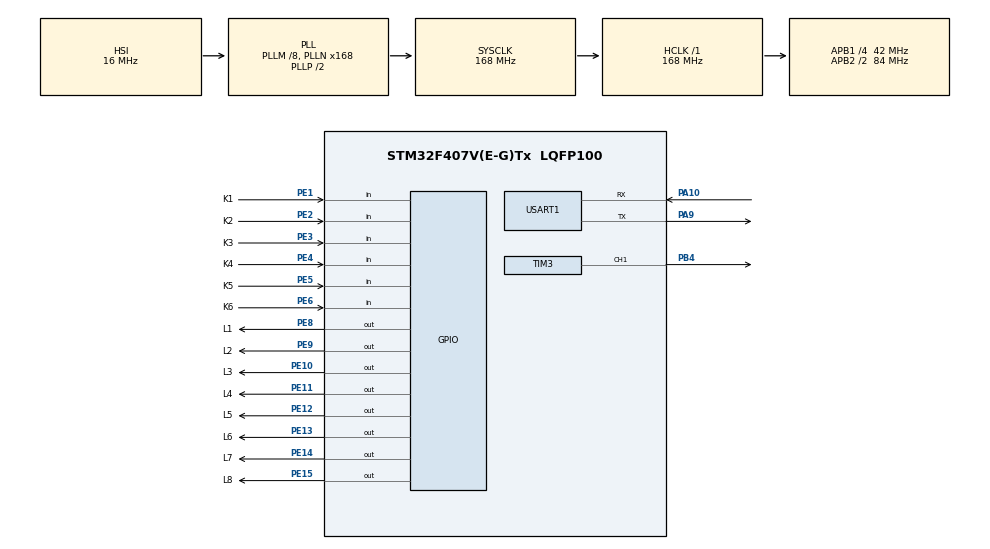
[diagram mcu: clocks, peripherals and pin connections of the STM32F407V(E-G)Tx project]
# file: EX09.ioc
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Mcu.Family=STM32F4
Mcu.Name=STM32F407V(E-G)Tx
Mcu.Package=LQFP100
NVIC.PriorityGroup=NVIC_PRIORITYGROUP_4
NVIC.USART1_IRQn=true\:0\:0\:false\:false\:true\:true\:true
PA10.Mode=Asynchronous
PA10.Signal=USART1_RX
PA13.Mode=Serial_Wire
PA13.Signal=SYS_JTMS-SWDIO
PA14.Mode=Serial_Wire
PA14.Signal=SYS_JTCK-SWCLK
PA9.Mode=Asynchronous
PA9.Signal=USART1_TX
PB4.Signal=S_TIM3_CH1
PE1.GPIO_Label=K1
PE1.GPIO_PuPd=GPIO_PULLUP
PE1.Signal=GPIO_Input
PE10.GPIO_Label=L3
PE10.GPIO_ModeDefaultOutputPP=GPIO_MODE_OUTPUT_PP
PE10.GPIO_PuPd=GPIO_NOPULL
PE10.GPIO_Speed=GPIO_SPEED_FREQ_LOW
PE10.PinState=GPIO_PIN_SET
PE10.Signal=GPIO_Output
PE11.GPIO_Label=L4
PE11.GPIO_ModeDefaultOutputPP=GPIO_MODE_OUTPUT_PP
PE11.GPIO_PuPd=GPIO_NOPULL
PE11.GPIO_Speed=GPIO_SPEED_FREQ_LOW
PE11.PinState=GPIO_PIN_SET
PE11.Signal=GPIO_Output
PE12.GPIO_Label=L5
PE12.GPIO_ModeDefaultOutputPP=GPIO_MODE_OUTPUT_PP
PE12.GPIO_PuPd=GPIO_NOPULL
PE12.GPIO_Speed=GPIO_SPEED_FREQ_LOW
PE12.PinState=GPIO_PIN_SET
PE12.Signal=GPIO_Output
PE13.GPIO_Label=L6
PE13.GPIO_ModeDefaultOutputPP=GPIO_MODE_OUTPUT_PP
PE13.GPIO_PuPd=GPIO_NOPULL
PE13.GPIO_Speed=GPIO_SPEED_FREQ_LOW
PE13.PinState=GPIO_PIN_SET
PE13.Signal=GPIO_Output
PE14.GPIO_Label=L7
PE14.GPIO_ModeDefaultOutputPP=GPIO_MODE_OUTPUT_PP
PE14.GPIO_PuPd=GPIO_NOPULL
PE14.GPIO_Speed=GPIO_SPEED_FREQ_LOW
PE14.PinState=GPIO_PIN_SET
PE14.Signal=GPIO_Output
PE15.GPIO_Label=L8
PE15.GPIO_ModeDefaultOutputPP=GPIO_MODE_OUTPUT_PP
PE15.GPIO_PuPd=GPIO_NOPULL
PE15.GPIO_Speed=GPIO_SPEED_FREQ_LOW
PE15.PinState=GPIO_PIN_SET
PE15.Signal=GPIO_Output
PE2.GPIO_Label=K2
PE2.GPIO_PuPd=GPIO_PULLUP
PE2.Signal=GPIO_Input
PE3.GPIO_Label=K3
PE3.GPIO_PuPd=GPIO_PULLUP
PE3.Signal=GPIO_Input
PE4.GPIO_Label=K4
PE4.GPIO_PuPd=GPIO_PULLUP
PE4.Signal=GPIO_Input
PE5.GPIO_Label=K5
PE5.GPIO_PuPd=GPIO_PULLDOWN
PE5.Signal=GPIO_Input
PE6.GPIO_Label=K6
PE6.GPIO_PuPd=GPIO_PULLDOWN
PE6.Signal=GPIO_Input
PE8.GPIO_Label=L1
PE8.GPIO_ModeDefaultOutputPP=GPIO_MODE_OUTPUT_PP
PE8.GPIO_PuPd=GPIO_NOPULL
PE8.GPIO_Speed=GPIO_SPEED_FREQ_LOW
PE8.PinState=GPIO_PIN_SET
PE8.Signal=GPIO_Output
PE9.GPIO_Label=L2
PE9.GPIO_ModeDefaultOutputPP=GPIO_MODE_OUTPUT_PP
PE9.GPIO_PuPd=GPIO_NOPULL
PE9.GPIO_Speed=GPIO_SPEED_FREQ_LOW
PE9.PinState=GPIO_PIN_SET
PE9.Signal=GPIO_Output
PH0-OSC_IN.Mode=HSE-External-Oscillator
PH0-OSC_IN.Signal=RCC_OSC_IN
PH1-OSC_OUT.Mode=HSE-External-Oscillator
PH1-OSC_OUT.Signal=RCC_OSC_OUT
ProjectManager.HeapSize=0x200
ProjectManager.StackSize=0x400
ProjectManager.TargetToolchain=MDK-ARM V5.27
RCC.48MHZClocksFreq_Value=84000000
RCC.AHBFreq_Value=168000000
RCC.APB1CLKDivider=RCC_HCLK_DIV4
RCC.APB1Freq_Value=42000000
RCC.APB1TimFreq_Value=84000000
RCC.APB2CLKDivider=RCC_HCLK_DIV2
RCC.APB2Freq_Value=84000000
RCC.APB2TimFreq_Value=168000000
RCC.CortexFreq_Value=168000000
RCC.HCLKFreq_Value=168000000
RCC.HSE_VALUE=25000000
RCC.HSI_VALUE=16000000
RCC.LSE_VALUE=32768
RCC.PLLM=8
RCC.PLLN=168
RCC.SYSCLKFreq_VALUE=168000000
RCC.SYSCLKSource=RCC_SYSCLKSOURCE_PLLCLK
RCC.VCOOutputFreq_Value=336000000
SH.S_TIM3_CH1.0=TIM3_CH1,PWM Generation1 CH1
TIM3.AutoReloadPreload=TIM_AUTORELOAD_PRELOAD_DISABLE
TIM3.Channel-PWM\ Generation1\ CH1=TIM_CHANNEL_1
TIM3.Period=2000-1
TIM3.Prescaler=168-1
TIM3.Pulse-PWM\ Generation1\ CH1=1000
USART1.VirtualMode=VM_ASYNC
VP_TIM3_VS_ClockSourceINT.Mode=Internal
board=custom

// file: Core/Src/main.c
/* USER CODE BEGIN Header */
/**
  ******************************************************************************
  * @file           : main.c
  * @brief          : Main program body
  ******************************************************************************
  * @attention
  *
  * Copyright (c) 2021 STMicroelectronics.
  * All rights reserved.
  *
  * This software is licensed under terms that can be found in the LICENSE file
  * in the root directory of this software component.
  * If no LICENSE file comes with this software, it is provided AS-IS.
  *
  ******************************************************************************
  */
/* USER CODE END Header */
#include "main.h"
#include "tim.h"
#include "usart.h"
#include "gpio.h"

/* USER CODE BEGIN Includes */
#include "led.h"
#include "InFlash.h"
/* USER CODE END Includes */

/* USER CODE BEGIN PD */
#include <stdio.h>
int fputc(int ch, FILE *f)
{
	// 向串口 1 发送一个字符
	HAL_UART_Transmit(&huart1, (uint8_t *)&ch, 1, 100);
	return 0;
}

/* USER CODE END PD */

void SystemClock_Config(void);

int main(void)
{

  /* MCU Configuration--------------------------------------------------------*/

  /* Reset of all peripherals, Initializes the Flash interface and the Systick. */
  HAL_Init();

  /* Configure the system clock */
  SystemClock_Config();

  /* Initialize all configured peripherals */
  MX_GPIO_Init();
  MX_TIM3_Init();
  MX_USART1_UART_Init();

  /* Infinite loop */
  /* USER CODE BEGIN WHILE */
	uint8_t sta = 0xf0;
	uint32_t tick = 0;
	uint8_t key = 0;

	printf("start app b\r\n");
  while (1)
  {
    /* USER CODE END WHILE */

    /* USER CODE BEGIN 3 */
		key = Key_scan();

		if(HAL_GetTick()>=tick)
		{
			tick = HAL_GetTick()+200;
			Set_leds(sta);

			sta = ~sta;
		}
		if(key == 1)
		{
			printf("JUMP TO APPB\r\n");
			JumpAPP(ADDR_FLASH_SECTOR_0);
		}

		HAL_Delay(20);
  }
  /* USER CODE END 3 */
}

void SystemClock_Config(void)
{
  RCC_OscInitTypeDef RCC_OscInitStruct = {0};
  RCC_ClkInitTypeDef RCC_ClkInitStruct = {0};

  /** Configure the main internal regulator output voltage
  */
  __HAL_RCC_PWR_CLK_ENABLE();
  __HAL_PWR_VOLTAGESCALING_CONFIG(PWR_REGULATOR_VOLTAGE_SCALE1);
  /** Initializes the RCC Oscillators according to the specified parameters
  * in the RCC_OscInitTypeDef structure.
  */
  RCC_OscInitStruct.OscillatorType = RCC_OSCILLATORTYPE_HSI;
  RCC_OscInitStruct.HSIState = RCC_HSI_ON;
  RCC_OscInitStruct.HSICalibrationValue = RCC_HSICALIBRATION_DEFAULT;
  RCC_OscInitStruct.PLL.PLLState = RCC_PLL_ON;
  RCC_OscInitStruct.PLL.PLLSource = RCC_PLLSOURCE_HSI;
  RCC_OscInitStruct.PLL.PLLM = 8;
  RCC_OscInitStruct.PLL.PLLN = 168;
  RCC_OscInitStruct.PLL.PLLP = RCC_PLLP_DIV2;
  RCC_OscInitStruct.PLL.PLLQ = 4;
  if (HAL_RCC_OscConfig(&RCC_OscInitStruct) != HAL_OK)
  {
    Error_Handler();
  }
  /** Initializes the CPU, AHB and APB buses clocks
  */
  RCC_ClkInitStruct.ClockType = RCC_CLOCKTYPE_HCLK|RCC_CLOCKTYPE_SYSCLK
                              |RCC_CLOCKTYPE_PCLK1|RCC_CLOCKTYPE_PCLK2;
  RCC_ClkInitStruct.SYSCLKSource = RCC_SYSCLKSOURCE_PLLCLK;
  RCC_ClkInitStruct.AHBCLKDivider = RCC_SYSCLK_DIV1;
  RCC_ClkInitStruct.APB1CLKDivider = RCC_HCLK_DIV4;
  RCC_ClkInitStruct.APB2CLKDivider = RCC_HCLK_DIV2;

  if (HAL_RCC_ClockConfig(&RCC_ClkInitStruct, FLASH_LATENCY_5) != HAL_OK)
  {
    Error_Handler();
  }
}

void Error_Handler(void)
{
  __disable_irq();
  while (1)
  {
  }
}
